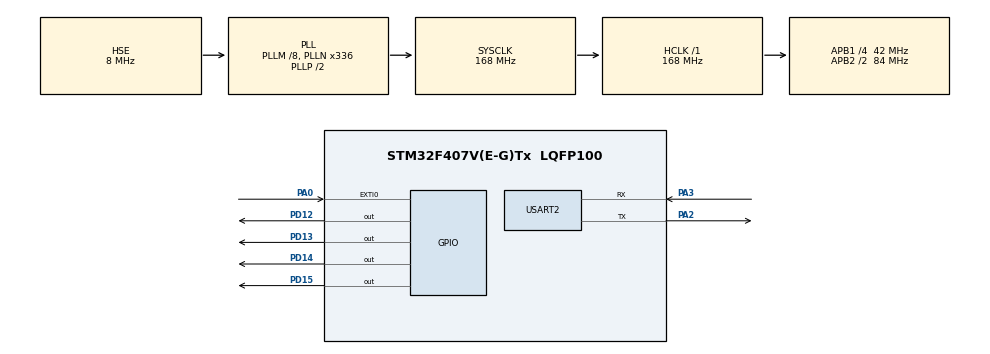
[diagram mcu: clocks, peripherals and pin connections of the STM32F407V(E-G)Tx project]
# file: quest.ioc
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FREERTOS.INCLUDE_vTaskDelayUntil=1
FREERTOS.Tasks01=defaultTask,-3,128,StartDefaultTask,Default,NULL,Dynamic,NULL,NULL;myTask02,2,128,StartTask02,Default,NULL,Dynamic,NULL,NULL
FREERTOS.configUSE_NEWLIB_REENTRANT=1
Mcu.Family=STM32F4
Mcu.Name=STM32F407V(E-G)Tx
Mcu.Package=LQFP100
NVIC.EXTI0_IRQn=true\:5\:0\:false\:false\:true\:false\:true\:true\:true
NVIC.PriorityGroup=NVIC_PRIORITYGROUP_4
NVIC.TIM1_UP_TIM10_IRQn=true\:15\:0\:false\:false\:true\:false\:false\:true\:true
NVIC.TimeBase=TIM1_UP_TIM10_IRQn
NVIC.TimeBaseIP=TIM1
PA0-WKUP.Signal=GPXTI0
PA2.Mode=Asynchronous
PA2.Signal=USART2_TX
PA3.Mode=Asynchronous
PA3.Signal=USART2_RX
PD12.Signal=GPIO_Output
PD13.Signal=GPIO_Output
PD14.Signal=GPIO_Output
PD15.Signal=GPIO_Output
PH0-OSC_IN.Mode=HSE-External-Oscillator
PH0-OSC_IN.Signal=RCC_OSC_IN
PH1-OSC_OUT.Mode=HSE-External-Oscillator
PH1-OSC_OUT.Signal=RCC_OSC_OUT
ProjectManager.HeapSize=0x200
ProjectManager.StackSize=0x400
ProjectManager.TargetToolchain=STM32CubeIDE
RCC.48MHZClocksFreq_Value=48000000
RCC.AHBFreq_Value=168000000
RCC.APB1CLKDivider=RCC_HCLK_DIV4
RCC.APB1Freq_Value=42000000
RCC.APB1TimFreq_Value=84000000
RCC.APB2CLKDivider=RCC_HCLK_DIV2
RCC.APB2Freq_Value=84000000
RCC.APB2TimFreq_Value=168000000
RCC.CortexFreq_Value=168000000
RCC.HCLKFreq_Value=168000000
RCC.HSE_VALUE=8000000
RCC.HSI_VALUE=16000000
RCC.LSE_VALUE=32768
RCC.PLLM=8
RCC.PLLN=336
RCC.PLLQ=7
RCC.PLLSourceVirtual=RCC_PLLSOURCE_HSE
RCC.SYSCLKFreq_VALUE=168000000
RCC.SYSCLKSource=RCC_SYSCLKSOURCE_PLLCLK
RCC.VCOOutputFreq_Value=336000000
RTC.Date=18
RTC.Format=RTC_FORMAT_BIN
RTC.HourFormat=RTC_HOURFORMAT_12
RTC.Hours=12
RTC.Minutes=0
RTC.TimeFormat=RTC_HOURFORMAT12_PM
RTC.WeekDay=RTC_WEEKDAY_THURSDAY
RTC.Year=24
USART2.VirtualMode=VM_ASYNC
VP_FREERTOS_VS_CMSIS_V1.Mode=CMSIS_V1
VP_RTC_VS_RTC_Activate.Mode=RTC_Enabled
VP_RTC_VS_RTC_Calendar.Mode=RTC_Calendar
VP_SYS_VS_tim1.Mode=TIM1
board=STM32F407G-DISC1

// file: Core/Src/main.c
/* USER CODE BEGIN Header */
/**
  ******************************************************************************
  * @file           : main.c
  * @brief          : Main program body
  ******************************************************************************
  * @attention
  *
  * Copyright (c) 2024 STMicroelectronics.
  * All rights reserved.
  *
  * This software is licensed under terms that can be found in the LICENSE file
  * in the root directory of this software component.
  * If no LICENSE file comes with this software, it is provided AS-IS.
  *
  ******************************************************************************
  */
/* USER CODE END Header */
#include "main.h"
#include "cmsis_os.h"

/* USER CODE BEGIN Includes */
#include<stdio.h>
#include<string.h>
/* USER CODE END Includes */

RTC_HandleTypeDef hrtc;

UART_HandleTypeDef huart2;

osThreadId defaultTaskHandle;
osThreadId myTask02Handle;
/* USER CODE BEGIN PV */
xSemaphoreHandle xSemaphore;
/* USER CODE END PV */

void SystemClock_Config(void);
static void MX_GPIO_Init(void);
static void MX_RTC_Init(void);
static void MX_USART2_UART_Init(void);
void StartDefaultTask(void const * argument);
void StartTask02(void const * argument);

/* USER CODE BEGIN 0 */
void led(void *param)
{
	while(1)
	{
		HAL_Delay(200);
		HAL_GPIO_WritePin(GPIOD, GPIO_PIN_12, GPIO_PIN_SET);
		HAL_Delay(400);
		HAL_GPIO_WritePin(GPIOD, GPIO_PIN_13, GPIO_PIN_SET);
		HAL_Delay(600);
		HAL_GPIO_WritePin(GPIOD, GPIO_PIN_14, GPIO_PIN_SET);
		HAL_Delay(800);
		HAL_GPIO_WritePin(GPIOD, GPIO_PIN_15, GPIO_PIN_SET);
		HAL_Delay(1000);
		HAL_GPIO_WritePin(GPIOD, GPIO_PIN_12, GPIO_PIN_RESET);
		HAL_GPIO_WritePin(GPIOD, GPIO_PIN_13, GPIO_PIN_RESET);
		HAL_GPIO_WritePin(GPIOD, GPIO_PIN_14, GPIO_PIN_RESET);
		HAL_GPIO_WritePin(GPIOD, GPIO_PIN_15, GPIO_PIN_RESET);

	}
	vTaskDelete(NULL);
}

void rtc(void *param)
{
	xSemaphoreTake(xSemaphore, 0);
	while (1)
	  {
		xSemaphoreTake(xSemaphore, portMAX_DELAY);
		  RTC_TimeTypeDef time;
		  RTC_DateTypeDef date;
		  char str[50];
		  int cnt;
		  HAL_RTC_GetTime(&hrtc, &time, RTC_FORMAT_BIN);
		  HAL_RTC_GetDate(&hrtc, &date, RTC_FORMAT_BIN);
		  cnt = sprintf(str, "E2 Mohammad Sayeed %02d-%02d-20%02d %02d:%02d:%02d\r\n",
				  date.Date, date.Month, date.Year, time.Hours, time.Minutes, time.Seconds);
		  HAL_UART_Transmit(&huart2, (uint8_t*)str, cnt, HAL_MAX_DELAY);

	  }
}

void HAL_GPIO_EXTI_Callback(uint16_t GPIO_Pin)
{
	portBASE_TYPE xHigherPriorityTaskWoken;
	xSemaphoreGiveFromISR(xSemaphore, &xHigherPriorityTaskWoken);

	portEND_SWITCHING_ISR(xHigherPriorityTaskWoken);
}
/* USER CODE END 0 */

int main(void)
{

  /* MCU Configuration--------------------------------------------------------*/

  /* Reset of all peripherals, Initializes the Flash interface and the Systick. */
  HAL_Init();

  /* Configure the system clock */
  SystemClock_Config();

  /* Initialize all configured peripherals */
  MX_GPIO_Init();
  MX_RTC_Init();
  MX_USART2_UART_Init();

  /* USER CODE BEGIN RTOS_SEMAPHORES */
  /* add semaphores, ... */
  vSemaphoreCreateBinary(xSemaphore);
  /* USER CODE END RTOS_SEMAPHORES */

  /* Create the thread(s) */
  /* definition and creation of defaultTask */
  osThreadDef(defaultTask, StartDefaultTask, osPriorityIdle, 0, 128);
  defaultTaskHandle = osThreadCreate(osThread(defaultTask), NULL);

  /* definition and creation of myTask02 */
  osThreadDef(myTask02, StartTask02, osPriorityHigh, 0, 128);
  myTask02Handle = osThreadCreate(osThread(myTask02), NULL);

  /* USER CODE BEGIN RTOS_THREADS */
  /* add threads, ... */
  xTaskCreate(led, "led", 128, NULL, 1, NULL);
  xTaskCreate(rtc, "rtc", configMINIMAL_STACK_SIZE, NULL, 6, NULL);
  /* USER CODE END RTOS_THREADS */

  /* Start scheduler */
  osKernelStart();

  /* We should never get here as control is now taken by the scheduler */
  /* Infinite loop */
  while (1)
  {

  }
}

void SystemClock_Config(void)
{
  RCC_OscInitTypeDef RCC_OscInitStruct = {0};
  RCC_ClkInitTypeDef RCC_ClkInitStruct = {0};

  /** Configure the main internal regulator output voltage
  */
  __HAL_RCC_PWR_CLK_ENABLE();
  __HAL_PWR_VOLTAGESCALING_CONFIG(PWR_REGULATOR_VOLTAGE_SCALE1);

  /** Initializes the RCC Oscillators according to the specified parameters
  * in the RCC_OscInitTypeDef structure.
  */
  RCC_OscInitStruct.OscillatorType = RCC_OSCILLATORTYPE_LSI|RCC_OSCILLATORTYPE_HSE;
  RCC_OscInitStruct.HSEState = RCC_HSE_ON;
  RCC_OscInitStruct.LSIState = RCC_LSI_ON;
  RCC_OscInitStruct.PLL.PLLState = RCC_PLL_ON;
  RCC_OscInitStruct.PLL.PLLSource = RCC_PLLSOURCE_HSE;
  RCC_OscInitStruct.PLL.PLLM = 8;
  RCC_OscInitStruct.PLL.PLLN = 336;
  RCC_OscInitStruct.PLL.PLLP = RCC_PLLP_DIV2;
  RCC_OscInitStruct.PLL.PLLQ = 7;
  if (HAL_RCC_OscConfig(&RCC_OscInitStruct) != HAL_OK)
  {
    Error_Handler();
  }

  /** Initializes the CPU, AHB and APB buses clocks
  */
  RCC_ClkInitStruct.ClockType = RCC_CLOCKTYPE_HCLK|RCC_CLOCKTYPE_SYSCLK
                              |RCC_CLOCKTYPE_PCLK1|RCC_CLOCKTYPE_PCLK2;
  RCC_ClkInitStruct.SYSCLKSource = RCC_SYSCLKSOURCE_PLLCLK;
  RCC_ClkInitStruct.AHBCLKDivider = RCC_SYSCLK_DIV1;
  RCC_ClkInitStruct.APB1CLKDivider = RCC_HCLK_DIV4;
  RCC_ClkInitStruct.APB2CLKDivider = RCC_HCLK_DIV2;

  if (HAL_RCC_ClockConfig(&RCC_ClkInitStruct, FLASH_LATENCY_5) != HAL_OK)
  {
    Error_Handler();
  }
}

static void MX_RTC_Init(void)
{

  RTC_TimeTypeDef sTime = {0};
  RTC_DateTypeDef sDate = {0};

  /** Initialize RTC Only
  */
  hrtc.Instance = RTC;
  hrtc.Init.HourFormat = RTC_HOURFORMAT_12;
  hrtc.Init.AsynchPrediv = 127;
  hrtc.Init.SynchPrediv = 255;
  hrtc.Init.OutPut = RTC_OUTPUT_DISABLE;
  hrtc.Init.OutPutPolarity = RTC_OUTPUT_POLARITY_HIGH;
  hrtc.Init.OutPutType = RTC_OUTPUT_TYPE_OPENDRAIN;
  if (HAL_RTC_Init(&hrtc) != HAL_OK)
  {
    Error_Handler();
  }

  /** Initialize RTC and set the Time and Date
  */
  sTime.Hours = 12;
  sTime.Minutes = 0;
  sTime.Seconds = 0;
  sTime.TimeFormat = RTC_HOURFORMAT12_PM;
  sTime.DayLightSaving = RTC_DAYLIGHTSAVING_NONE;
  sTime.StoreOperation = RTC_STOREOPERATION_RESET;
  if (HAL_RTC_SetTime(&hrtc, &sTime, RTC_FORMAT_BIN) != HAL_OK)
  {
    Error_Handler();
  }
  sDate.WeekDay = RTC_WEEKDAY_THURSDAY;
  sDate.Month = RTC_MONTH_JANUARY;
  sDate.Date = 18;
  sDate.Year = 24;

  if (HAL_RTC_SetDate(&hrtc, &sDate, RTC_FORMAT_BIN) != HAL_OK)
  {
    Error_Handler();
  }

}

static void MX_USART2_UART_Init(void)
{

  huart2.Instance = USART2;
  huart2.Init.BaudRate = 115200;
  huart2.Init.WordLength = UART_WORDLENGTH_8B;
  huart2.Init.StopBits = UART_STOPBITS_1;
  huart2.Init.Parity = UART_PARITY_NONE;
  huart2.Init.Mode = UART_MODE_TX_RX;
  huart2.Init.HwFlowCtl = UART_HWCONTROL_NONE;
  huart2.Init.OverSampling = UART_OVERSAMPLING_16;
  if (HAL_UART_Init(&huart2) != HAL_OK)
  {
    Error_Handler();
  }

}

static void MX_GPIO_Init(void)
{
  GPIO_InitTypeDef GPIO_InitStruct = {0};

  /* GPIO Ports Clock Enable */
  __HAL_RCC_GPIOH_CLK_ENABLE();
  __HAL_RCC_GPIOA_CLK_ENABLE();
  __HAL_RCC_GPIOD_CLK_ENABLE();

  /*Configure GPIO pin Output Level */
  HAL_GPIO_WritePin(GPIOD, GPIO_PIN_12|GPIO_PIN_13|GPIO_PIN_14|GPIO_PIN_15, GPIO_PIN_RESET);

  /*Configure GPIO pin : PA0 */
  GPIO_InitStruct.Pin = GPIO_PIN_0;
  GPIO_InitStruct.Mode = GPIO_MODE_IT_RISING;
  GPIO_InitStruct.Pull = GPIO_NOPULL;
  HAL_GPIO_Init(GPIOA, &GPIO_InitStruct);

  /*Configure GPIO pins : PD12 PD13 PD14 PD15 */
  GPIO_InitStruct.Pin = GPIO_PIN_12|GPIO_PIN_13|GPIO_PIN_14|GPIO_PIN_15;
  GPIO_InitStruct.Mode = GPIO_MODE_OUTPUT_PP;
  GPIO_InitStruct.Pull = GPIO_NOPULL;
  GPIO_InitStruct.Speed = GPIO_SPEED_FREQ_LOW;
  HAL_GPIO_Init(GPIOD, &GPIO_InitStruct);

  /* EXTI interrupt init*/
  HAL_NVIC_SetPriority(EXTI0_IRQn, 5, 0);
  HAL_NVIC_EnableIRQ(EXTI0_IRQn);

}

void StartDefaultTask(void const * argument)
{
  for(;;)
  {
    osDelay(1);
  }
}

void StartTask02(void const * argument)
{
  for(;;)
  {
    osDelay(1);
  }
}

void HAL_TIM_PeriodElapsedCallback(TIM_HandleTypeDef *htim)
{
  if (htim->Instance == TIM1) {
    HAL_IncTick();
  }
}

void Error_Handler(void)
{
  __disable_irq();
  while (1)
  {
  }
}
